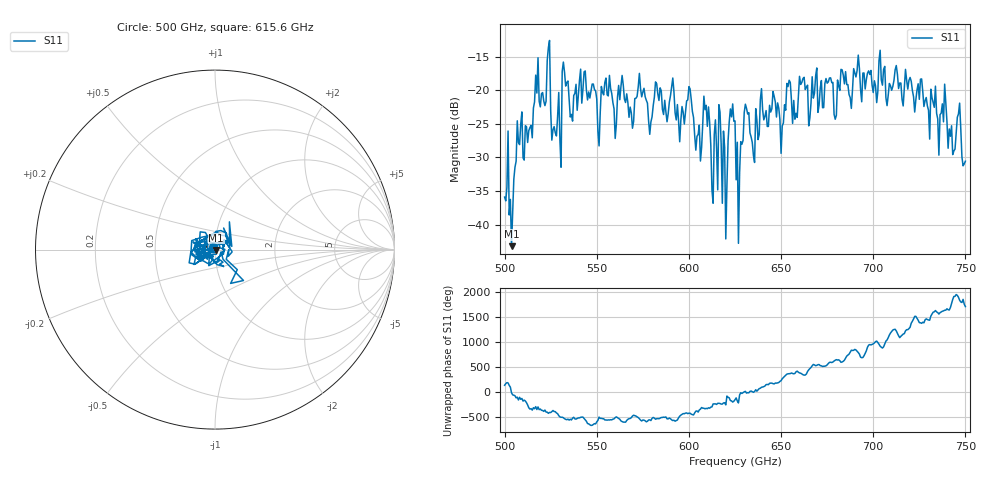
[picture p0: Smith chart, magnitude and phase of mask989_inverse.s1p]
!Created with skrf (http://scikit-rf.org).
# GHz S MA R 50.0
!freq magS11 angS11
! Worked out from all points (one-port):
!   401 points, 500 GHz to 750 GHz, reference 50 ohm
!   lowest |S11| = -43.2 dB at 503.8 GHz (marker M1), VSWR 1.01, Z = 50.7 - j0.174 ohm
!   |S11| at or under -10 dB: start of sweep to end of sweep
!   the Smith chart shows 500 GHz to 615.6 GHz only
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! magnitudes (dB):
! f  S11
! 500 GHz  -35.9
! 503.8 GHz  -43.2
! 508.1 GHz  -28.1
! 513.8 GHz  -25.6
! 516.9 GHz  -17.8
! 523.8 GHz  -13.7
! 526.9 GHz  -25.4
! 531.2 GHz  -17.2
! 562.5 GHz  -21.4
! 593.8 GHz  -22.1
! 600 GHz  -19.5
! 605 GHz  -26.6
! 609.4 GHz  -22.3
! 612.5 GHz  -34.9
! 617.5 GHz  -28.1
! 619.4 GHz  -28.5
! 622.5 GHz  -22.8
! 625 GHz  -24.6
! 626.9 GHz  -42.8
! 631.2 GHz  -22.7
! 634.4 GHz  -27.8
! 640 GHz  -23.0
! 656.2 GHz  -24.9
! 687.5 GHz  -21.1
! 718.8 GHz  -19.8
! 743.1 GHz  -29.6
! 746.2 GHz  -23.5
! 750 GHz  -30.6
